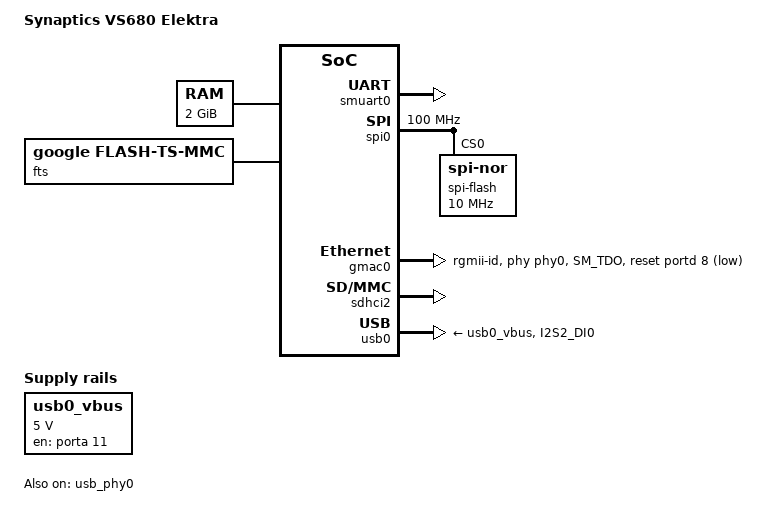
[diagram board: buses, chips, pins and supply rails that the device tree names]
/* SPDX-License-Identifier: GPL-2.0+ */
/*
 * Copyright (C) 2019 Synaptics Incorporated
 *
 * Author: Shaojun Feng <Shaojun.Feng@synaptics.com>
 *
 */

/dts-v1/;

#include "vs680.dtsi"
#include "include/dt-bindings/gpio/gpio.h"

/ {
	model = "Synaptics VS680 Elektra";
	compatible = "Synaptics,vs680", "Synaptics,asserial";

	memory {
		device_type = "memory";
		reg = <0 0 0 0x80000000>;
	};

	fts {
		compatible = "google,flash-ts-mmc";
	};

	chosen {
                stdout-path = &smuart0;
        };

	regulators {
		compatible = "simple-bus";
		#address-cells = <1>;
		#size-cells = <0>;

		usb0_vbus: regulator@0 {
			compatible = "regulator-fixed";
			regulator-name = "usb0_vbus";
			regulator-min-microvolt = <5000000>;
			regulator-max-microvolt = <5000000>;
			gpio = <&porta 11 GPIO_ACTIVE_HIGH>;
			enable-active-high;
		};

	};
};

&sysmgr_pinctrl {
	gmac_prstb: gmac_prstb {
		groups = "SM_TDO";
		function = "gpio";
		drive-strength = <3>;
	};
};

&pinctrl {
	emmc_pmux: emmc-pmux {
                groups = "NAND_IO0", "NAND_IO1", "NAND_IO2", "NAND_IO3", "NAND_IO4", "NAND_IO5", "ND_IO6", "NAND_IO7", "NAND_ALE", "NAND_CLE", "NAND_WPn";
                function = "emmc";
        };

	usb2_vbus_pmux: usb_vbus_pmux {
		groups = "I2S2_DI0";
		function = "gpio";
	};

};

&CPU_SLEEP_0 {
	status = "disabled";
};

&smuart0 {
	status = "okay";
};

&spi0 {
	status = "okay";
	max-write-size = <128>;
	clock-frequency = <100000000>;
	spi-flash@0 {
		#address-cells = <1>;
		#size-cells = <1>;
		compatible = "jedec,spi-nor";
		reg = <0>;
		memory-map = <0x0 0xf0000000 0x0 0x4000000>;
		spi-max-frequency = <10000000>;
        };
};

&phy0 {
	reg = <0>;
};

&gmac0 {
	status = "okay";
	pinctrl-names = "default";
	pinctrl-0 = <&gmac_prstb>;
	max-speed = <1000>;
	phy-mode = "rgmii-id";
	phy-handle = <&phy0>;
	phy = <&phy0>;
	snps,reset-gpio = <&portd 8 GPIO_ACTIVE_LOW>;
	snps,reset-active-low;
	snps,reset-delays-us = <0 10000 50000>;
};

&sdhci2 {
	status = "okay";
	max-frequency = <50000000>;
	cap-mmc-highspeed;
	1_8v-signalling;
};

&usb_phy0 {
	status = "okay";
};

&usb0 {
	pinctrl-names = "default";
	pinctrl-0 = <&usb2_vbus_pmux>;
	vbus-supply = <&usb0_vbus>;
	status = "okay";
};
